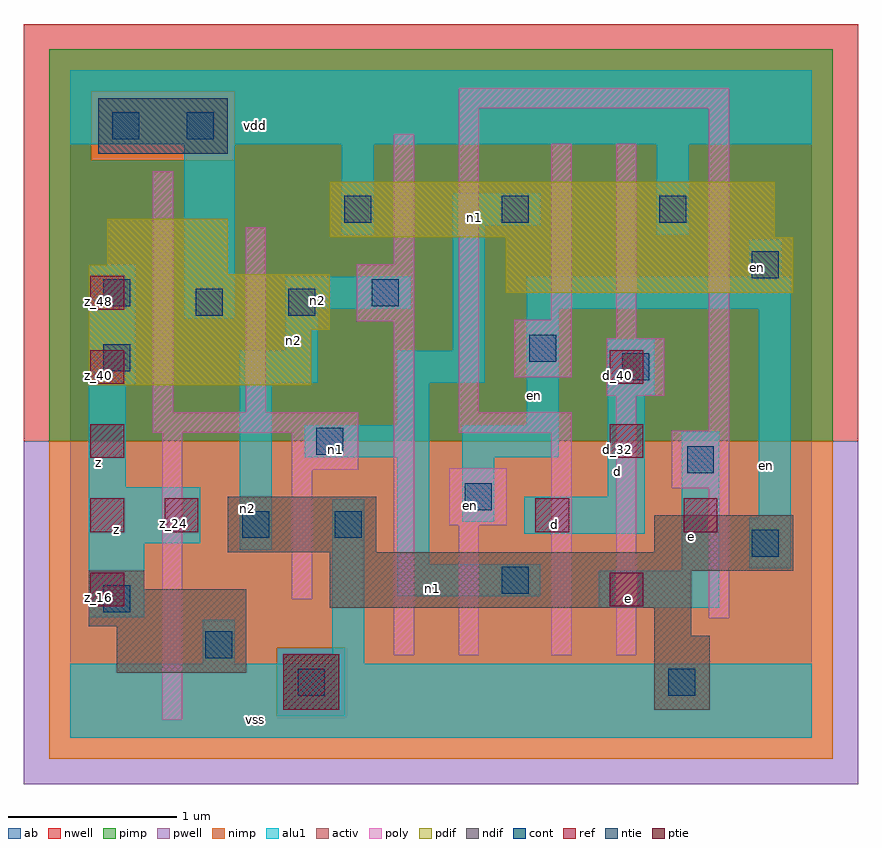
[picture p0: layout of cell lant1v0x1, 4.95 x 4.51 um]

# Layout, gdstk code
import gdstk
lib = gdstk.Library(unit=1e-6, precision=2.5e-09)
def R(c, l, rs):  # rectangles x0, y0, x1, y1
    for r in rs: c.add(gdstk.rectangle(r[:2], r[2:], *l))
def A(c, l, x, y, w, h, nx, ny, dx, dy):  # array of equal rectangles
    R(c, l, [(x+i*dx, y+j*dy, x+i*dx+w, y+j*dy+h) for i in range(nx) for j in range(ny)])
ndif = (3, 0)
pdif = (4, 0)
ntie = (5, 0)
ptie = (6, 0)
ref = (24, 0)
cont = (25, 0)
pwell = (41, 0)
nwell = (42, 0)
activ = (43, 0)
pimp = (44, 0)
nimp = (45, 0)
poly = (46, 0)
alu1 = (49, 0)
ab = (63, 0)

lant1v0x1 = lib.new_cell('lant1v0x1')
R(lant1v0x1, ndif, [(3.465,0.165,3.795,0.605), (0.275,0.385,1.045,0.66), (3.465,0.605,3.685,0.77), (0.11,0.66,1.045,0.88), (1.54,0.77,3.685,0.99), (0.11,0.88,0.44,0.99), (1.54,0.99,4.29,1.1), (0.935,1.1,1.815,1.43), (3.465,1.1,4.29,1.32)])
R(lant1v0x1, pdif, [(0.11,2.09,1.43,2.42), (0.11,2.42,1.54,2.75), (2.585,2.64,4.29,2.97), (0.11,2.75,0.935,2.805), (0.22,2.805,0.935,3.08), (1.54,2.97,4.18,3.3)])
R(lant1v0x1, ntie, [(0.165,3.465,0.935,3.795)])
R(lant1v0x1, ptie, [(1.265,0.165,1.595,0.495)])
A(lant1v0x1, ref, 0.12, 0.78, 0.2, 0.2, 1, 5, 0, 0.44)
R(lant1v0x1, ref, [(3.2,0.78,3.4,0.98), (0.56,1.22,0.76,1.42), (2.76,1.22,2.96,1.42), (3.64,1.22,3.84,1.42), (3.2,1.66,3.4,1.86), (3.2,2.1,3.4,2.3)])
A(lant1v0x1, cont, 1.625, 3.055, 0.16, 0.16, 3, 1, 0.935, 0)
R(lant1v0x1, cont, [(1.35,0.25,1.51,0.41), (3.55,0.25,3.71,0.41), (0.8,0.47,0.96,0.63), (0.195,0.745,0.355,0.905), (2.56,0.855,2.72,1.015), (4.045,1.075,4.205,1.235), (1.02,1.185,1.18,1.345), (1.57,1.185,1.73,1.345), (2.34,1.35,2.5,1.51), (3.66,1.57,3.82,1.73), (1.46,1.68,1.62,1.84), (3.275,2.12,3.435,2.28), (0.195,2.175,0.355,2.335), (2.725,2.23,2.885,2.39), (0.745,2.505,0.905,2.665), (1.295,2.505,1.455,2.665), (0.195,2.56,0.355,2.72), (1.79,2.56,1.95,2.72), (4.045,2.725,4.205,2.885), (0.25,3.55,0.41,3.71), (0.69,3.55,0.85,3.71)])
R(lant1v0x1, pwell, [(-0.275,-0.275,4.675,1.76)])
R(lant1v0x1, nwell, [(-0.275,1.76,4.675,4.235)])
R(lant1v0x1, activ, [(1.265,0.165,1.595,0.495), (3.465,0.165,3.795,0.605), (0.275,0.385,1.045,0.66), (3.465,0.605,3.685,0.77), (0.11,0.66,1.045,0.88), (1.54,0.77,3.685,0.99), (0.11,0.88,0.44,0.99), (1.54,0.99,4.29,1.1), (0.935,1.1,1.815,1.43), (3.465,1.1,4.29,1.32), (0.11,2.09,1.43,2.42), (0.11,2.42,1.54,2.75), (2.585,2.64,4.29,2.97), (0.11,2.75,0.935,2.805), (0.22,2.805,0.935,3.08), (1.54,2.97,4.18,3.3), (0.165,3.465,0.935,3.795)])
R(lant1v0x1, pimp, [(1.225,0.125,1.635,0.535), (-0.125,1.76,4.525,3.425), (-0.125,3.425,0.125,3.835), (0.975,3.425,4.525,3.835), (-0.125,3.835,4.525,4.085)])
R(lant1v0x1, nimp, [(-0.125,-0.125,4.525,0.125), (-0.125,0.125,1.225,0.535), (1.635,0.125,4.525,0.535), (-0.125,0.535,4.525,1.76), (0.125,3.425,0.975,3.835)])
R(lant1v0x1, poly, [(0.545,0.105,0.665,1.81), (1.92,0.49,2.04,2.47), (2.305,0.49,2.425,1.26), (2.855,0.49,2.975,1.81), (3.24,0.49,3.36,2.03), (3.79,0.71,3.91,1.48), (1.315,0.82,1.435,1.59), (2.25,1.26,2.59,1.6), (3.57,1.48,3.91,1.82), (1.315,1.59,1.71,1.81), (0.49,1.81,1.71,1.93), (2.305,1.81,2.975,1.93), (3.79,1.82,3.91,3.735), (0.49,1.93,0.61,3.36), (1.04,1.93,1.16,3.03), (2.305,1.93,2.425,3.735), (3.185,2.03,3.525,2.37), (2.635,2.14,2.975,2.48), (3.24,2.37,3.36,3.525), (1.7,2.47,2.04,2.81), (2.855,2.48,2.975,3.525), (1.92,2.81,2.04,3.58), (2.305,3.735,3.91,3.855)])
R(lant1v0x1, alu1, [(0,0,4.4,0.44), (0.785,0.44,0.975,0.7), (1.555,0.44,1.745,1.415), (0.11,0.715,0.44,1.155), (3.135,0.77,3.85,0.99), (1.94,0.84,2.79,1.03), (3.63,0.99,3.85,1.815), (4.03,1.005,4.275,1.305), (1.94,1.03,2.13,1.665), (1.005,1.115,1.195,2.105), (0.11,1.155,0.77,1.485), (2.695,1.21,3.41,1.43), (2.325,1.28,2.515,1.665), (4.085,1.305,4.275,2.545), (3.19,1.43,3.41,2.035), (0.11,1.485,0.33,2.09), (1.39,1.665,2.13,1.855), (2.325,1.665,2.9,1.855), (1.94,1.855,2.13,2.105), (2.71,1.855,2.9,2.545), (3.19,2.035,3.465,2.365), (0.11,2.09,0.385,2.805), (1.005,2.105,1.47,2.295), (1.94,2.105,2.46,2.295), (1.28,2.295,1.47,2.545), (2.27,2.295,2.46,3.04), (0.675,2.49,0.975,3.52), (1.28,2.545,2.02,2.735), (2.71,2.545,4.275,2.735), (4.03,2.735,4.22,2.955), (1.61,2.985,1.8,3.52), (3.48,2.985,3.67,3.52), (2.27,3.04,2.79,3.23), (0,3.52,4.4,3.96)])
R(lant1v0x1, ab, [(0,0,4.4,3.96)])
lant1v0x1.add(gdstk.Label('vss', (1.1,0.11), layer=49, texttype=0))
lant1v0x1.add(gdstk.Label('e', (3.3125,0.825), layer=49, texttype=0))
lant1v0x1.add(gdstk.Label('en', (4.1325,1.615), layer=49, texttype=0))
lant1v0x1.add(gdstk.Label('e', (3.685,1.195), layer=49, texttype=0))
lant1v0x1.add(gdstk.Label('n1', (2.1525,0.8875), layer=49, texttype=0))
lant1v0x1.add(gdstk.Label('d', (2.8725,1.265), layer=49, texttype=0))
lant1v0x1.add(gdstk.Label('d', (3.245,1.58), layer=49, texttype=0))
lant1v0x1.add(gdstk.Label('en', (2.3725,1.375), layer=49, texttype=0))
lant1v0x1.add(gdstk.Label('n1', (1.575,1.7125), layer=49, texttype=0))
lant1v0x1.add(gdstk.Label('en', (2.7575,2.0275), layer=49, texttype=0))
lant1v0x1.add(gdstk.Label('n2', (1.0525,1.3625), layer=49, texttype=0))
lant1v0x1.add(gdstk.Label('z', (0.275,1.2375), layer=49, texttype=0))
lant1v0x1.add(gdstk.Label('z', (0.165,1.635), layer=49, texttype=0))
lant1v0x1.add(gdstk.Label('en', (4.0775,2.79), layer=49, texttype=0))
lant1v0x1.add(gdstk.Label('n2', (1.3275,2.3575), layer=49, texttype=0))
lant1v0x1.add(gdstk.Label('n2', (1.465,2.5925), layer=49, texttype=0))
lant1v0x1.add(gdstk.Label('n1', (2.4,3.0875), layer=49, texttype=0))
lant1v0x1.add(gdstk.Label('vdd', (1.1,3.63), layer=49, texttype=0))
lant1v0x1.add(gdstk.Label('d_32', (3.25,1.71), layer=24, texttype=0))
lant1v0x1.add(gdstk.Label('e_24', (3.69,1.27), layer=24, texttype=0))
lant1v0x1.add(gdstk.Label('e_16', (3.25,0.83), layer=24, texttype=0))
lant1v0x1.add(gdstk.Label('z_24', (0.17,1.27), layer=24, texttype=0))
lant1v0x1.add(gdstk.Label('z_32', (0.17,1.71), layer=24, texttype=0))
lant1v0x1.add(gdstk.Label('z_40', (0.17,2.15), layer=24, texttype=0))
lant1v0x1.add(gdstk.Label('z_16', (0.17,0.83), layer=24, texttype=0))
lant1v0x1.add(gdstk.Label('z_48', (0.17,2.59), layer=24, texttype=0))
lant1v0x1.add(gdstk.Label('d_40', (3.25,2.15), layer=24, texttype=0))
lant1v0x1.add(gdstk.Label('d_24', (2.81,1.27), layer=24, texttype=0))
lant1v0x1.add(gdstk.Label('z_24', (0.61,1.27), layer=24, texttype=0))

lib.write_gds('lant1v0x1.gds')
